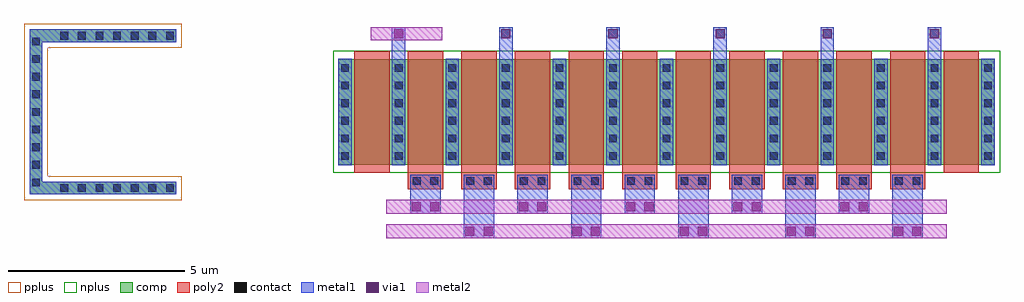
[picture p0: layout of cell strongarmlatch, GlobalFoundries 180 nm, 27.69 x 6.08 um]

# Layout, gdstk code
import gdstk
lib = gdstk.Library(unit=1e-6, precision=1e-09)
def R(c, l, rs):  # rectangles x0, y0, x1, y1
    for r in rs: c.add(gdstk.rectangle(r[:2], r[2:], *l))
def A(c, l, x, y, w, h, nx, ny, dx, dy):  # array of equal rectangles
    R(c, l, [(x+i*dx, y+j*dy, x+i*dx+w, y+j*dy+h) for i in range(nx) for j in range(ny)])
comp = (22, 0)
poly2 = (30, 0)
pplus = (31, 0)
nplus = (32, 0)
contact = (33, 0)
metal1 = (34, 0)
via1 = (35, 0)
metal2 = (36, 0)

nfet = lib.new_cell('nfet')
R(nfet, comp, [(0,0,18.6,3)])
A(nfet, poly2, 0.44, -0.22, 1, 3.44, 12, 1, 1.52, 0)
R(nfet, nplus, [(-0.16,-0.23,18.76,3.23)])
A(nfet, contact, 0.07, 0.14, 0.22, 0.22, 13, 6, 1.52, 0.5)
A(nfet, metal1, -0.01, -0.01, 0.38, 3.02, 13, 1, 1.52, 0)

strongarmlatch = lib.new_cell('strongarmlatch')
R(strongarmlatch, comp, [(-5.47,2.86,-1.31,3.22), (-5.47,3.22,-5.11,7.18), (-5.47,7.18,-1.31,7.54)])
A(strongarmlatch, poly2, 5.26, 3.01, 1, 0.47, 10, 1, 1.52, 0)
R(strongarmlatch, pplus, [(-5.63,2.7,-1.15,3.38), (-5.63,3.38,-4.95,7.02), (-5.63,7.02,-1.15,7.7)])
A(strongarmlatch, contact, -4.6, 2.93, 0.22, 0.22, 7, 2, 0.5, 4.32)
A(strongarmlatch, contact, -5.4, 3.09, 0.22, 0.22, 1, 9, 0, 0.5)
R(strongarmlatch, contact, [(5.4,3.13,5.62,3.35), (5.9,3.13,6.12,3.35), (6.92,3.13,7.14,3.35), (7.42,3.13,7.64,3.35), (8.44,3.13,8.66,3.35), (8.94,3.13,9.16,3.35), (9.96,3.13,10.18,3.35), (10.46,3.13,10.68,3.35), (11.48,3.13,11.7,3.35), (11.98,3.13,12.2,3.35), (13,3.13,13.22,3.35), (13.5,3.13,13.72,3.35), (14.52,3.13,14.74,3.35), (15.02,3.13,15.24,3.35), (16.04,3.13,16.26,3.35), (16.54,3.13,16.76,3.35), (17.56,3.13,17.78,3.35), (18.06,3.13,18.28,3.35), (19.08,3.13,19.3,3.35), (19.58,3.13,19.8,3.35)])
A(strongarmlatch, metal1, 6.85, 1.62, 0.86, 1.44, 5, 1, 3.04, 0)
A(strongarmlatch, metal1, 5.33, 2.31, 0.86, 0.75, 5, 1, 3.04, 0)
A(strongarmlatch, metal1, 5.33, 3.06, 0.86, 0.36, 10, 1, 1.52, 0)
A(strongarmlatch, metal1, 4.81, 6.71, 0.38, 0.9, 6, 1, 3.04, 0)
R(strongarmlatch, metal1, [(-5.47,2.86,-1.31,3.22), (-5.47,3.22,-5.11,7.18), (-5.47,7.18,-1.31,7.54)])
A(strongarmlatch, via1, 4.87, 7.29, 0.26, 0.26, 6, 1, 3.04, 0)
R(strongarmlatch, via1, [(6.89,1.69,7.15,1.95), (7.41,1.69,7.67,1.95), (9.93,1.69,10.19,1.95), (10.45,1.69,10.71,1.95), (12.97,1.69,13.23,1.95), (13.49,1.69,13.75,1.95), (16.01,1.69,16.27,1.95), (16.53,1.69,16.79,1.95), (19.05,1.69,19.31,1.95), (19.57,1.69,19.83,1.95), (5.37,2.38,5.63,2.64), (5.89,2.38,6.15,2.64), (8.41,2.38,8.67,2.64), (8.93,2.38,9.19,2.64), (11.45,2.38,11.71,2.64), (11.97,2.38,12.23,2.64), (14.49,2.38,14.75,2.64), (15.01,2.38,15.27,2.64), (17.53,2.38,17.79,2.64), (18.05,2.38,18.31,2.64)])
R(strongarmlatch, metal2, [(4.65,1.62,20.55,2.02), (4.65,2.31,20.55,2.71), (4.21,7.23,6.24,7.61)])
strongarmlatch.add(gdstk.Reference(nfet, (3.3,3.7)))

lib.write_gds('strongarmlatch.gds')
